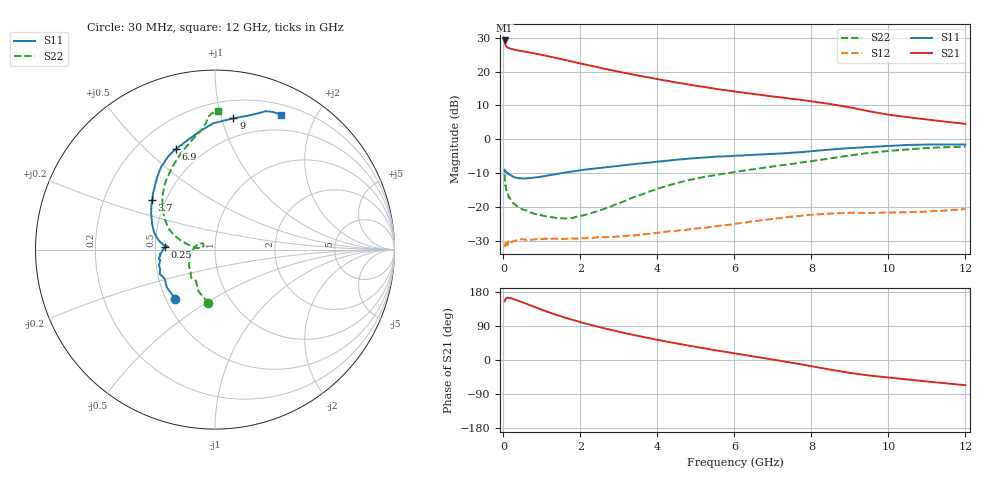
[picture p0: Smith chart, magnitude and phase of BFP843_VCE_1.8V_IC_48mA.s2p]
! Infineon Technologies  Discrete & RF Semiconductors
! BFP843
! VCE =  1.8 V,  IC =  48 mA
! Common Emitter S-Parameters:  Aug 2013
# GHz  S  MA  R  50
!  f  S11  S21  S12  S22
! GHz  MAG  ANG  MAG  ANG  MAG  ANG  MAG  ANG
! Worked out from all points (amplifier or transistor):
!   103 points, 30 MHz to 12 GHz, reference 50 ohm
!   highest |S21| = 29.2 dB at 30 MHz (marker M1)
!   |S21| within 3 dB of that: start of sweep to 390.9 MHz
!   unconditionally stable (mu >= 1): 49.25 MHz to 51.39 MHz; 67.97 MHz to 10.14 GHz
!   at 400 MHz: K = 1.06, MAG = 26.6 dB, |S12| = -30.0 dB
!   at 3.7 GHz: K = 1.40, MAG = 19.5 dB, |S12| = -28.1 dB
!   at 12 GHz: K = 0.83, MSG = 12.6 dB, |S12| = -20.7 dB
!   S11 on the Smith chart (normalised r, x): 30 MHz: 0.56, -0.35; 250 MHz: 0.56, +0.02; 3.7 GHz: 0.42, +0.29; 6.9 GHz: 0.35, +0.63; 9 GHz: 0.34, +1.09; 12 GHz: 0.32, +1.56
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0.03  0.3528 -128.7  28.91 155.2  0.0262 25.8  0.3015 -96.9
0.04  0.3412 -141.9  26.42 157.4  0.0275 23.6  0.25 -111.6
0.05  0.3235 -150.0  25.13 160.5  0.0261 38.4  0.2033 -121.9
0.07  0.3244 -160.7  23.6 162.8  0.0284 15.6  0.1817 -138.5
0.08  0.324 -164.5  23.35 163.4  0.0287 16.5  0.1749 -144.0
0.13  0.3062 -173.8  22.47 164.5  0.0307 9.0  0.1455 -166.0
0.25  0.279 177.3  21.42 161.2  0.0309 9.5  0.1121 173.3
0.7  0.2659 176.5  19.07 144.1  0.0323 6.6  0.0825 155.0
1.1  0.2864 174.9  17.2 128.9  0.0337 7.4  0.0723 153.8
1.3  0.2998 173.0  16.23 121.7  0.0338 7.7  0.0695 155.9
1.6  0.3204 170.2  14.88 111.9  0.0333 8.6  0.0671 161.9
2.1  0.3531 164.0  12.81 97.1  0.0341 9.9  0.0755 170.8
2.8  0.3914 154.3  10.51 79.3  0.0355 14.3  0.1011 174.6
3.7  0.4458 141.9  8.329 59.3  0.0394 17.4  0.1602 168.5
4.1  0.4705 136.6  7.566 51.3  0.0415 18.4  0.1923 165.2
5.1  0.5305 126.2  6.047 32.8  0.0483 20.4  0.268 157.2
6.1  0.5713 118.7  4.99 15.9  0.0567 19.0  0.3327 147.7
6.9  0.6027 111.1  4.345 2.7  0.065 15.2  0.3862 139.1
8.5  0.7031 90.9  3.305 -25.6  0.0793 2.4  0.5205 117.0
9  0.7389 82.0  2.962 -34.0  0.0814 -2.2  0.575 108.7
10.5  0.8217 69.8  2.119 -51.4  0.083 -10.4  0.7053 94.1
12  0.8328 63.8  1.688 -66.5  0.0924 -17.8  0.7721 88.8
